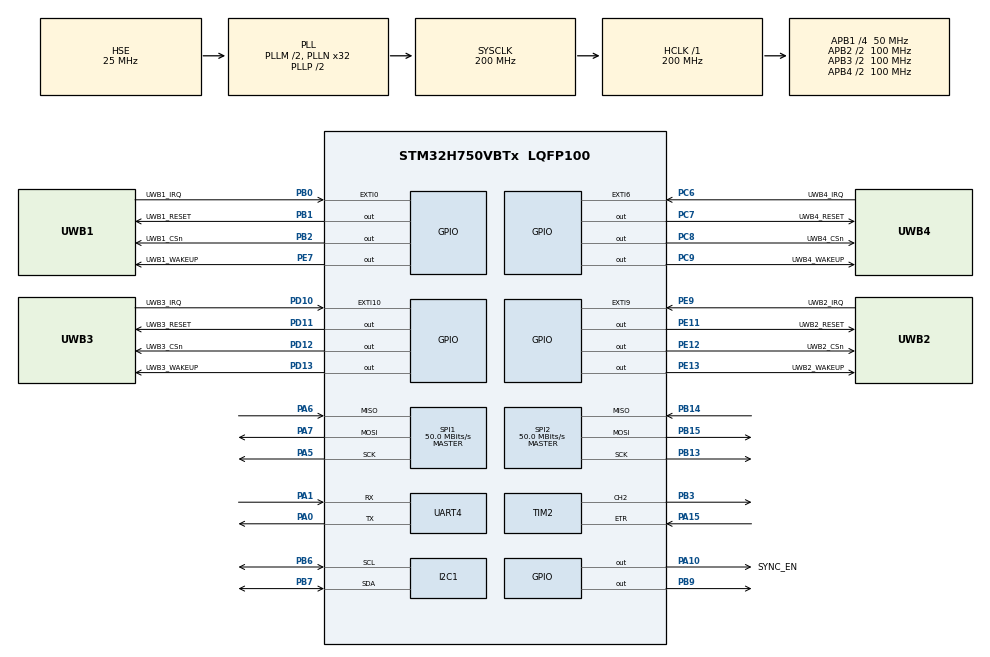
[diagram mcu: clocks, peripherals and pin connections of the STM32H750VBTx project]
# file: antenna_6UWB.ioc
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CORTEX_M7.default_mode_Activation=1
I2C1.Timing=0x00C0EAFF
Mcu.Family=STM32H7
Mcu.Name=STM32H750VBTx
Mcu.Package=LQFP100
NVIC.EXTI0_IRQn=true\:0\:0\:false\:false\:true\:true\:true\:true
NVIC.EXTI15_10_IRQn=true\:0\:0\:false\:false\:true\:true\:true\:true
NVIC.EXTI9_5_IRQn=true\:0\:0\:false\:false\:true\:true\:true\:true
NVIC.PriorityGroup=NVIC_PRIORITYGROUP_4
PA0.Mode=Asynchronous
PA0.Signal=UART4_TX
PA1.Mode=Asynchronous
PA1.Signal=UART4_RX
PA10.GPIO_Label=SYNC_EN
PA10.Signal=GPIO_Output
PA13\ (JTMS/SWDIO).Mode=Serial_Wire
PA13\ (JTMS/SWDIO).Signal=DEBUG_JTMS-SWDIO
PA14\ (JTCK/SWCLK).Mode=Serial_Wire
PA14\ (JTCK/SWCLK).Signal=DEBUG_JTCK-SWCLK
PA15\ (JTDI).Signal=S_TIM2_CH1_ETR
PA5.Mode=Full_Duplex_Master
PA5.Signal=SPI1_SCK
PA6.Mode=Full_Duplex_Master
PA6.Signal=SPI1_MISO
PA7.Mode=Full_Duplex_Master
PA7.Signal=SPI1_MOSI
PB0.GPIO_Label=UWB1_IRQ
PB0.Signal=GPXTI0
PB1.GPIO_Label=UWB1_RESET
PB1.GPIO_ModeDefaultOutputPP=GPIO_MODE_OUTPUT_OD
PB1.GPIO_PuPd=GPIO_NOPULL
PB1.PinState=GPIO_PIN_SET
PB1.Signal=GPIO_Output
PB13.Mode=Full_Duplex_Master
PB13.Signal=SPI2_SCK
PB14.Mode=Full_Duplex_Master
PB14.Signal=SPI2_MISO
PB15.Mode=Full_Duplex_Master
PB15.Signal=SPI2_MOSI
PB2.GPIO_Label=UWB1_CSn
PB2.GPIO_ModeDefaultOutputPP=GPIO_MODE_OUTPUT_PP
PB2.GPIO_PuPd=GPIO_NOPULL
PB2.PinState=GPIO_PIN_SET
PB2.Signal=GPIO_Output
PB3\ (JTDO/TRACESWO).Signal=S_TIM2_CH2
PB6.Mode=I2C
PB6.Signal=I2C1_SCL
PB7.Mode=I2C
PB7.Signal=I2C1_SDA
PB9.Signal=GPIO_Output
PC6.GPIO_Label=UWB4_IRQ
PC6.Signal=GPXTI6
PC7.GPIO_Label=UWB4_RESET
PC7.GPIO_ModeDefaultOutputPP=GPIO_MODE_OUTPUT_OD
PC7.GPIO_PuPd=GPIO_NOPULL
PC7.PinState=GPIO_PIN_SET
PC7.Signal=GPIO_Output
PC8.GPIO_Label=UWB4_CSn
PC8.GPIO_ModeDefaultOutputPP=GPIO_MODE_OUTPUT_PP
PC8.GPIO_PuPd=GPIO_NOPULL
PC8.PinState=GPIO_PIN_SET
PC8.Signal=GPIO_Output
PC9.GPIO_Label=UWB4_WAKEUP
PC9.Signal=GPIO_Output
PD10.GPIO_Label=UWB3_IRQ
PD10.Signal=GPXTI10
PD11.GPIO_Label=UWB3_RESET
PD11.GPIO_ModeDefaultOutputPP=GPIO_MODE_OUTPUT_OD
PD11.GPIO_PuPd=GPIO_NOPULL
PD11.PinState=GPIO_PIN_SET
PD11.Signal=GPIO_Output
PD12.GPIO_Label=UWB3_CSn
PD12.GPIO_ModeDefaultOutputPP=GPIO_MODE_OUTPUT_PP
PD12.GPIO_PuPd=GPIO_NOPULL
PD12.PinState=GPIO_PIN_SET
PD12.Signal=GPIO_Output
PD13.GPIO_Label=UWB3_WAKEUP
PD13.Signal=GPIO_Output
PE11.GPIO_Label=UWB2_RESET
PE11.GPIO_ModeDefaultOutputPP=GPIO_MODE_OUTPUT_OD
PE11.GPIO_PuPd=GPIO_NOPULL
PE11.PinState=GPIO_PIN_SET
PE11.Signal=GPIO_Output
PE12.GPIO_Label=UWB2_CSn
PE12.GPIO_ModeDefaultOutputPP=GPIO_MODE_OUTPUT_PP
PE12.GPIO_PuPd=GPIO_NOPULL
PE12.PinState=GPIO_PIN_SET
PE12.Signal=GPIO_Output
PE13.GPIO_Label=UWB2_WAKEUP
PE13.Signal=GPIO_Output
PE7.GPIO_Label=UWB1_WAKEUP
PE7.Signal=GPIO_Output
PE9.GPIO_Label=UWB2_IRQ
PE9.Signal=GPXTI9
PH0-OSC_IN\ (PH0).Mode=HSE-External-Oscillator
PH0-OSC_IN\ (PH0).Signal=RCC_OSC_IN
PH1-OSC_OUT\ (PH1).Mode=HSE-External-Oscillator
PH1-OSC_OUT\ (PH1).Signal=RCC_OSC_OUT
ProjectManager.HeapSize=0x200
ProjectManager.StackSize=0x400
ProjectManager.TargetToolchain=STM32CubeIDE
RCC.ADCFreq_Value=75000000
RCC.APB1Freq_Value=50000000
RCC.APB2Freq_Value=100000000
RCC.APB3Freq_Value=100000000
RCC.APB4Freq_Value=100000000
RCC.CortexFreq_Value=200000000
RCC.D1PPRE=RCC_APB3_DIV2
RCC.D2PPRE1=RCC_APB1_DIV4
RCC.D2PPRE2=RCC_APB2_DIV2
RCC.D3PPRE=RCC_APB4_DIV2
RCC.DIVM1=2
RCC.DIVM2=2
RCC.DIVN1=32
RCC.DIVN2=12
RCC.DIVQ1=4
RCC.HCLKFreq_Value=200000000
RCC.HSE_VALUE=25000000
RCC.PLL2FRACN=0
RCC.PLL3FRACN=0
RCC.PLLFRACN=0
RCC.PLLSourceVirtual=RCC_PLLSOURCE_HSE
RCC.SYSCLKFreq_VALUE=200000000
RCC.SYSCLKSource=RCC_SYSCLKSOURCE_PLLCLK
RCC.USBFreq_Value=100000000
SH.S_TIM2_CH1_ETR.0=TIM2_ETR,ClockSourceETR_Mode2
SH.S_TIM2_CH2.0=TIM2_CH2,Output Compare2 CH2
SPI1.BaudRatePrescaler=SPI_BAUDRATEPRESCALER_2
SPI1.CalculateBaudRate=50.0 MBits/s
SPI1.Direction=SPI_DIRECTION_2LINES
SPI1.Mode=SPI_MODE_MASTER
SPI1.VirtualType=VM_MASTER
SPI2.BaudRatePrescaler=SPI_BAUDRATEPRESCALER_2
SPI2.CalculateBaudRate=50.0 MBits/s
SPI2.Direction=SPI_DIRECTION_2LINES
SPI2.Mode=SPI_MODE_MASTER
SPI2.VirtualType=VM_MASTER
TIM2.Channel-Output\ Compare2\ CH2=TIM_CHANNEL_2
VP_TIM1_VS_ClockSourceINT.Mode=Internal
board=custom

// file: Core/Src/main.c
/* USER CODE BEGIN Header */
/**
  ******************************************************************************
  * @file           : main.c
  * @brief          : Main program body
  ******************************************************************************
  * @attention
  *
  * Copyright (c) 2025 STMicroelectronics.
  * All rights reserved.
  *
  * This software is licensed under terms that can be found in the LICENSE file
  * in the root directory of this software component.
  * If no LICENSE file comes with this software, it is provided AS-IS.
  *
  ******************************************************************************
  */
/* USER CODE END Header */
#include "main.h"
#include "i2c.h"
#include "spi.h"
#include "tim.h"
#include "usart.h"
#include "gpio.h"

/* USER CODE BEGIN Includes */
#include "uwb.h"

//tanya_add
#include "aoa_queue.h"
/* USER CODE END Includes */

/* USER CODE BEGIN PD */
#define DWT_NUM_DW_DEV (4)
/* USER CODE END PD */

/* USER CODE BEGIN PV */
volatile UWB_Device UWB_device_array[DWT_NUM_DW_DEV];

/* USER CODE END PV */

void SystemClock_Config(void);
static void MPU_Config(void);

int main(void)
{

  /* MPU Configuration--------------------------------------------------------*/
  MPU_Config();

  /* MCU Configuration--------------------------------------------------------*/

  /* Reset of all peripherals, Initializes the Flash interface and the Systick. */
  HAL_Init();

  /* Configure the system clock */
  SystemClock_Config();

  /* Initialize all configured peripherals */
  MX_GPIO_Init();
  MX_I2C1_Init();
  MX_SPI1_Init();
  MX_TIM1_Init();
  MX_SPI2_Init();
  MX_TIM2_Init();
  MX_UART4_Init();
  /* USER CODE BEGIN 2 */

	/**
	 * 接下来要初始化DW1000 要先查询芯片是否进入了IDLE模式(2.3.2 Overview of main operational states)
	 * 否则Antenna_Array_Init()时DW1000内部还没开始工作 SPI通信会失败
	 * 错过了Antenna_Array_Init()这次初始化后只能复位STM32
	 *
	 * RSTn引脚被DW1000内部拉高标志着进入了INIT状态
	 */
	if(  Antenna_Array_Init() != UWB_OK ||Check_DW1000RSTn(100) != UWB_OK)
//	if( Antenna_Array_Init() != UWB_OK)
	{
		/* 只需成功 不需失败 重启*/
		__disable_irq();
		NVIC_SystemReset();
	}

  /* USER CODE END 2 */

  /* Infinite loop */
  /* USER CODE BEGIN WHILE */
	for (int i = 0; i < DWT_NUM_DW_DEV; i++) {
		if (UWB_device_array[i].port.available == 1) {
			/* Set expected response's delay and timeout. See NOTE 4, 5 and 6 below.
			 * As this example only handles one incoming frame with always the same delay and timeout, those values can be set here once for all. */
			// 			dwt_setrxaftertxdelay(0, pports);  //若是不设置呢，我希望在代码中设置的，若是不进入rx我希�???
			dwt_setrxtimeout(0, &UWB_device_array[i].port);
			dwt_rxenable(DWT_START_RX_IMMEDIATE, &UWB_device_array[i].port);
		}
	}

	volatile uint8_t index = 255;
	while(1)
	{
		index = dequeueData();
		if (index != 255) {
			DW1000_Port_t *pa = &UWB_device_array[index].port;
			//可增加
			printf("%u,%u,%f,%f\n", pa->aoa_param.sequence, index, pa->aoa_param.phi, pa->aoa_param.beta);
		}
    /* USER CODE END WHILE */

	}
}

void SystemClock_Config(void)
{
  RCC_OscInitTypeDef RCC_OscInitStruct = {0};
  RCC_ClkInitTypeDef RCC_ClkInitStruct = {0};

  /** Supply configuration update enable
  */
  HAL_PWREx_ConfigSupply(PWR_LDO_SUPPLY);

  /** Configure the main internal regulator output voltage
  */
  __HAL_PWR_VOLTAGESCALING_CONFIG(PWR_REGULATOR_VOLTAGE_SCALE3);

  while(!__HAL_PWR_GET_FLAG(PWR_FLAG_VOSRDY)) {}

  /** Initializes the RCC Oscillators according to the specified parameters
  * in the RCC_OscInitTypeDef structure.
  */
  RCC_OscInitStruct.OscillatorType = RCC_OSCILLATORTYPE_HSE;
  RCC_OscInitStruct.HSEState = RCC_HSE_ON;
  RCC_OscInitStruct.PLL.PLLState = RCC_PLL_ON;
  RCC_OscInitStruct.PLL.PLLSource = RCC_PLLSOURCE_HSE;
  RCC_OscInitStruct.PLL.PLLM = 2;
  RCC_OscInitStruct.PLL.PLLN = 32;
  RCC_OscInitStruct.PLL.PLLP = 2;
  RCC_OscInitStruct.PLL.PLLQ = 4;
  RCC_OscInitStruct.PLL.PLLR = 2;
  RCC_OscInitStruct.PLL.PLLRGE = RCC_PLL1VCIRANGE_3;
  RCC_OscInitStruct.PLL.PLLVCOSEL = RCC_PLL1VCOWIDE;
  RCC_OscInitStruct.PLL.PLLFRACN = 0;
  if (HAL_RCC_OscConfig(&RCC_OscInitStruct) != HAL_OK)
  {
    Error_Handler();
  }

  /** Initializes the CPU, AHB and APB buses clocks
  */
  RCC_ClkInitStruct.ClockType = RCC_CLOCKTYPE_HCLK|RCC_CLOCKTYPE_SYSCLK
                              |RCC_CLOCKTYPE_PCLK1|RCC_CLOCKTYPE_PCLK2
                              |RCC_CLOCKTYPE_D3PCLK1|RCC_CLOCKTYPE_D1PCLK1;
  RCC_ClkInitStruct.SYSCLKSource = RCC_SYSCLKSOURCE_PLLCLK;
  RCC_ClkInitStruct.SYSCLKDivider = RCC_SYSCLK_DIV1;
  RCC_ClkInitStruct.AHBCLKDivider = RCC_HCLK_DIV1;
  RCC_ClkInitStruct.APB3CLKDivider = RCC_APB3_DIV2;
  RCC_ClkInitStruct.APB1CLKDivider = RCC_APB1_DIV4;
  RCC_ClkInitStruct.APB2CLKDivider = RCC_APB2_DIV2;
  RCC_ClkInitStruct.APB4CLKDivider = RCC_APB4_DIV2;

  if (HAL_RCC_ClockConfig(&RCC_ClkInitStruct, FLASH_LATENCY_4) != HAL_OK)
  {
    Error_Handler();
  }
}

 /* MPU Configuration */

void MPU_Config(void)
{
  MPU_Region_InitTypeDef MPU_InitStruct = {0};

  /* Disables the MPU */
  HAL_MPU_Disable();

  /** Initializes and configures the Region and the memory to be protected
  */
  MPU_InitStruct.Enable = MPU_REGION_ENABLE;
  MPU_InitStruct.Number = MPU_REGION_NUMBER0;
  MPU_InitStruct.BaseAddress = 0x0;
  MPU_InitStruct.Size = MPU_REGION_SIZE_4GB;
  MPU_InitStruct.SubRegionDisable = 0x87;
  MPU_InitStruct.TypeExtField = MPU_TEX_LEVEL0;
  MPU_InitStruct.AccessPermission = MPU_REGION_NO_ACCESS;
  MPU_InitStruct.DisableExec = MPU_INSTRUCTION_ACCESS_DISABLE;
  MPU_InitStruct.IsShareable = MPU_ACCESS_SHAREABLE;
  MPU_InitStruct.IsCacheable = MPU_ACCESS_NOT_CACHEABLE;
  MPU_InitStruct.IsBufferable = MPU_ACCESS_NOT_BUFFERABLE;

  HAL_MPU_ConfigRegion(&MPU_InitStruct);
  /* Enables the MPU */
  HAL_MPU_Enable(MPU_PRIVILEGED_DEFAULT);

}

void Error_Handler(void)
{
	__disable_irq();
	while(1)
	{
	}
}
